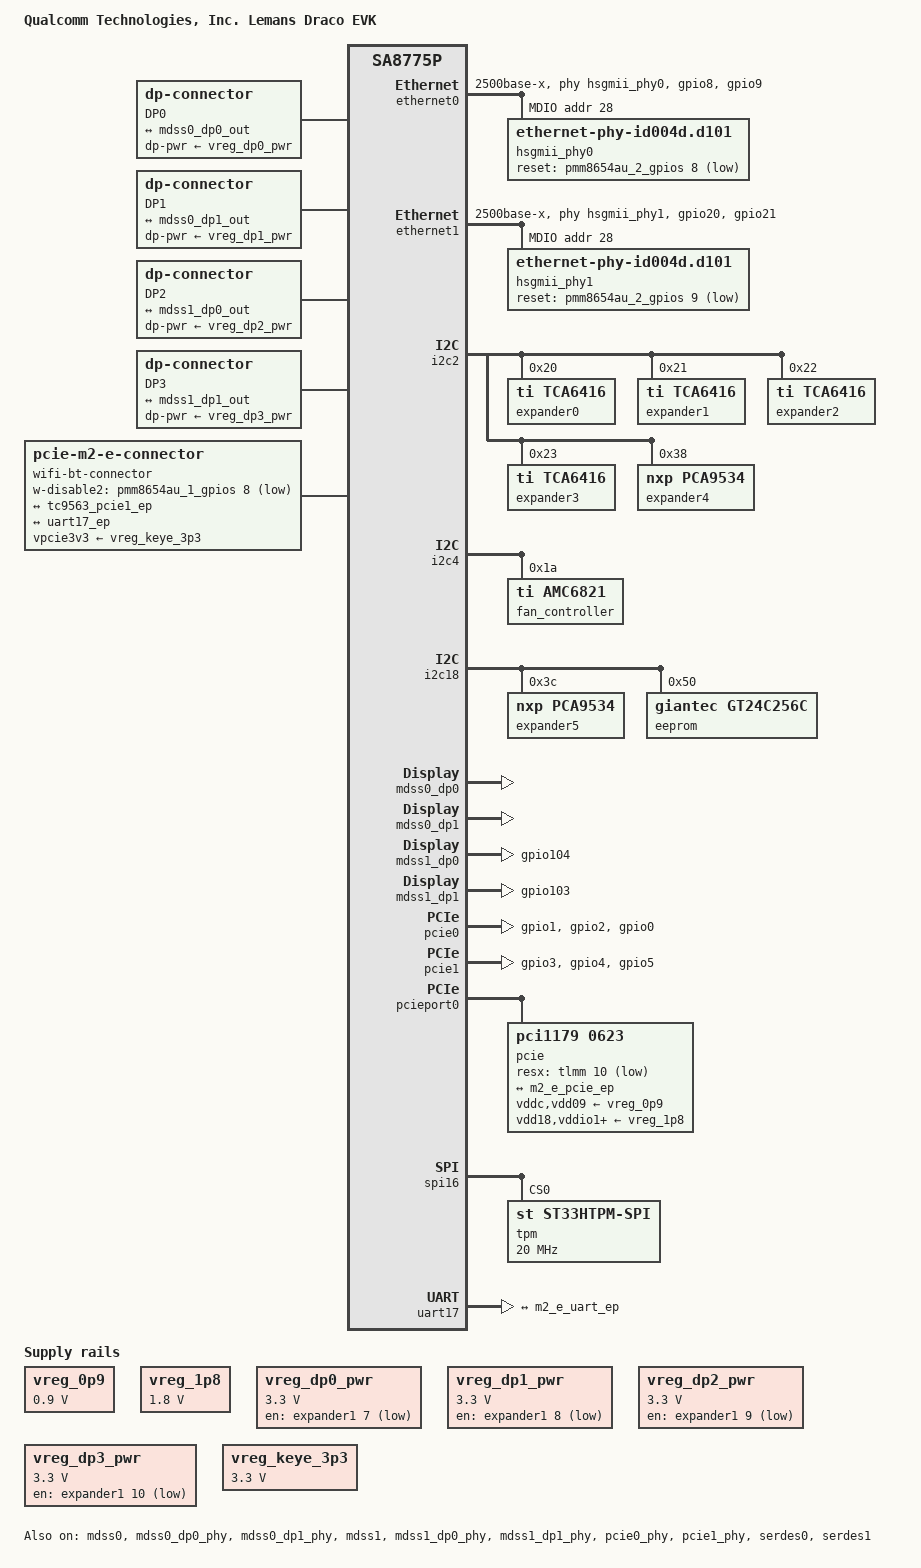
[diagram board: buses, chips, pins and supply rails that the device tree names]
// SPDX-License-Identifier: BSD-3-Clause
/*
 * Copyright (c) Qualcomm Technologies, Inc. and/or its subsidiaries.
 */
/dts-v1/;

#include <dt-bindings/pwm/pwm.h>
#include "lemans-draco-som.dtsi"

/ {
	model = "Qualcomm Technologies, Inc. Lemans Draco EVK";
	compatible = "qcom,lemans-draco-evk", "qcom,lemans-draco-som",
		     "qcom,qcs9100", "qcom,sa8775p";
	chassis-type = "embedded";

	aliases {
		ethernet0 = &ethernet0;
		ethernet1 = &ethernet1;
		serial1 = &uart17;
	};

	dp0-connector {
		compatible = "dp-connector";
		label = "DP0";
		type = "full-size";

		dp-pwr-supply = <&vreg_dp0_pwr>;

		port {
			dp0_connector_in: endpoint {
				remote-endpoint = <&mdss0_dp0_out>;
			};
		};
	};

	dp1-connector {
		compatible = "dp-connector";
		label = "DP1";
		type = "full-size";

		dp-pwr-supply = <&vreg_dp1_pwr>;

		port {
			dp1_connector_in: endpoint {
				remote-endpoint = <&mdss0_dp1_out>;
			};
		};
	};

	dp2-connector {
		compatible = "dp-connector";
		label = "DP2";
		type = "full-size";

		dp-pwr-supply = <&vreg_dp2_pwr>;

		port {
			dp2_connector_in: endpoint {
				remote-endpoint = <&mdss1_dp0_out>;
			};
		};
	};

	dp3-connector {
		compatible = "dp-connector";
		label = "DP3";
		type = "full-size";

		dp-pwr-supply = <&vreg_dp3_pwr>;

		port {
			dp3_connector_in: endpoint {
				remote-endpoint = <&mdss1_dp1_out>;
			};
		};
	};

	vreg_0p9: regulator-0v9 {
		compatible = "regulator-fixed";
		regulator-name = "VREG_0P9";
		regulator-min-microvolt = <900000>;
		regulator-max-microvolt = <900000>;
		regulator-always-on;
		regulator-boot-on;
	};

	vreg_1p8: regulator-1v8 {
		compatible = "regulator-fixed";
		regulator-name = "VREG_1P8";
		regulator-min-microvolt = <1800000>;
		regulator-max-microvolt = <1800000>;
		regulator-always-on;
		regulator-boot-on;
	};

	vreg_dp0_pwr: regulator-dp0-pwr {
		compatible = "regulator-fixed";
		regulator-name = "VREG_DP0_PWR_3P3";

		regulator-min-microvolt = <3300000>;
		regulator-max-microvolt = <3300000>;

		gpio = <&expander1 7 GPIO_ACTIVE_HIGH>;
	};

	vreg_dp1_pwr: regulator-dp1-pwr {
		compatible = "regulator-fixed";
		regulator-name = "VREG_DP1_PWR_3P3";

		regulator-min-microvolt = <3300000>;
		regulator-max-microvolt = <3300000>;

		gpio = <&expander1 8 GPIO_ACTIVE_HIGH>;
	};

	vreg_dp2_pwr: regulator-dp2-pwr {
		compatible = "regulator-fixed";
		regulator-name = "VREG_DP2_PWR_3P3";

		regulator-min-microvolt = <3300000>;
		regulator-max-microvolt = <3300000>;

		gpio = <&expander1 9 GPIO_ACTIVE_HIGH>;
	};

	vreg_dp3_pwr: regulator-dp3-pwr {
		compatible = "regulator-fixed";
		regulator-name = "VREG_DP3_PWR_3P3";

		regulator-min-microvolt = <3300000>;
		regulator-max-microvolt = <3300000>;

		gpio = <&expander1 10 GPIO_ACTIVE_HIGH>;
	};

	vreg_keye_3p3: regulator-keye-3p3 {
		compatible = "regulator-fixed";
		regulator-name = "vreg_keye_3p3";
		regulator-min-microvolt = <3300000>;
		regulator-max-microvolt = <3300000>;
		regulator-always-on;
	};

	wifi-bt-connector {
		compatible = "pcie-m2-e-connector";
		vpcie3v3-supply = <&vreg_keye_3p3>;
		w-disable2-gpios = <&pmm8654au_1_gpios 8 GPIO_ACTIVE_LOW>;

		ports {
			#address-cells = <1>;
			#size-cells = <0>;

			port@0 {
				reg = <0>;
				#address-cells = <1>;
				#size-cells = <0>;

				m2_e_pcie_ep: endpoint@0 {
					reg = <0>;
					remote-endpoint = <&tc9563_pcie1_ep>;
				};
			};

			port@3 {
				reg = <3>;
				#address-cells = <1>;
				#size-cells = <0>;

				m2_e_uart_ep: endpoint@0 {
					reg = <0>;
					remote-endpoint = <&uart17_ep>;
				};
			};
		};
	};
};

&ethernet0 {
	phy-handle = <&hsgmii_phy0>;
	phy-mode = "2500base-x";

	pinctrl-0 = <&ethernet0_default>;
	pinctrl-names = "default";

	snps,mtl-rx-config = <&mtl_rx_setup>;
	snps,mtl-tx-config = <&mtl_tx_setup>;

	nvmem-cells = <&mac_addr0>;
	nvmem-cell-names = "mac-address";

	status = "okay";

	mdio {
		compatible = "snps,dwmac-mdio";
		#address-cells = <1>;
		#size-cells = <0>;

		hsgmii_phy0: ethernet-phy@1c {
			compatible = "ethernet-phy-id004d.d101";
			reg = <0x1c>;
			reset-gpios = <&pmm8654au_2_gpios 8 GPIO_ACTIVE_LOW>;
			reset-assert-us = <11000>;
			reset-deassert-us = <70000>;
		};
	};

	mtl_rx_setup: rx-queues-config {
		snps,rx-queues-to-use = <4>;
		snps,rx-sched-sp;

		queue0 {
			snps,dcb-algorithm;
			snps,map-to-dma-channel = <0x0>;
			snps,route-up;
			snps,priority = <0x1>;
		};

		queue1 {
			snps,dcb-algorithm;
			snps,map-to-dma-channel = <0x1>;
			snps,route-ptp;
		};

		queue2 {
			snps,avb-algorithm;
			snps,map-to-dma-channel = <0x2>;
			snps,route-avcp;
		};

		queue3 {
			snps,avb-algorithm;
			snps,map-to-dma-channel = <0x3>;
			snps,priority = <0xc>;
		};
	};

	mtl_tx_setup: tx-queues-config {
		snps,tx-queues-to-use = <4>;

		queue0 {
			snps,dcb-algorithm;
		};

		queue1 {
			snps,dcb-algorithm;
		};

		queue2 {
			snps,avb-algorithm;
			snps,send_slope = <0x1000>;
			snps,idle_slope = <0x1000>;
			snps,high_credit = <0x3e800>;
			snps,low_credit = <0xffc18000>;
		};

		queue3 {
			snps,avb-algorithm;
			snps,send_slope = <0x1000>;
			snps,idle_slope = <0x1000>;
			snps,high_credit = <0x3e800>;
			snps,low_credit = <0xffc18000>;
		};
	};
};

&ethernet1 {
	phy-handle = <&hsgmii_phy1>;
	phy-mode = "2500base-x";

	pinctrl-0 = <&ethernet1_default>;
	pinctrl-names = "default";

	snps,mtl-rx-config = <&mtl_rx_setup1>;
	snps,mtl-tx-config = <&mtl_tx_setup1>;

	nvmem-cells = <&mac_addr1>;
	nvmem-cell-names = "mac-address";

	status = "okay";

	mdio {
		compatible = "snps,dwmac-mdio";
		#address-cells = <1>;
		#size-cells = <0>;

		hsgmii_phy1: ethernet-phy@1c {
			compatible = "ethernet-phy-id004d.d101";
			reg = <0x1c>;
			reset-gpios = <&pmm8654au_2_gpios 9 GPIO_ACTIVE_LOW>;
			reset-assert-us = <11000>;
			reset-deassert-us = <70000>;
		};
	};

	mtl_rx_setup1: rx-queues-config {
		snps,rx-queues-to-use = <4>;
		snps,rx-sched-sp;

		queue0 {
			snps,dcb-algorithm;
			snps,map-to-dma-channel = <0x0>;
			snps,route-up;
			snps,priority = <0x1>;
		};

		queue1 {
			snps,dcb-algorithm;
			snps,map-to-dma-channel = <0x1>;
			snps,route-ptp;
		};

		queue2 {
			snps,avb-algorithm;
			snps,map-to-dma-channel = <0x2>;
			snps,route-avcp;
		};

		queue3 {
			snps,avb-algorithm;
			snps,map-to-dma-channel = <0x3>;
			snps,priority = <0xc>;
		};
	};

	mtl_tx_setup1: tx-queues-config {
		snps,tx-queues-to-use = <4>;

		queue0 {
			snps,dcb-algorithm;
		};

		queue1 {
			snps,dcb-algorithm;
		};

		queue2 {
			snps,avb-algorithm;
			snps,send_slope = <0x1000>;
			snps,idle_slope = <0x1000>;
			snps,high_credit = <0x3e800>;
			snps,low_credit = <0xffc18000>;
		};

		queue3 {
			snps,avb-algorithm;
			snps,send_slope = <0x1000>;
			snps,idle_slope = <0x1000>;
			snps,high_credit = <0x3e800>;
			snps,low_credit = <0xffc18000>;
		};
	};
};

&i2c2 {
	status = "okay";

	expander0: gpio@20 {
		compatible = "ti,tca6416";
		reg = <0x20>;
		#gpio-cells = <2>;
		gpio-controller;
	};

	expander1: gpio@21 {
		compatible = "ti,tca6416";
		reg = <0x21>;
		#gpio-cells = <2>;
		gpio-controller;
	};

	expander2: gpio@22 {
		compatible = "ti,tca6416";
		reg = <0x22>;
		#gpio-cells = <2>;
		gpio-controller;
	};

	expander3: gpio@23 {
		compatible = "ti,tca6416";
		reg = <0x23>;
		#gpio-cells = <2>;
		gpio-controller;
	};

	expander4: gpio@38 {
		compatible = "nxp,pca9534";
		reg = <0x38>;
		#gpio-cells = <2>;
		gpio-controller;
	};
};

&i2c4 {
	status = "okay";

	fan_controller: fan@1a {
		compatible = "ti,amc6821";
		reg = <0x1a>;
		#pwm-cells = <2>;

		fan {
			pwms = <&fan_controller 40000 PWM_POLARITY_INVERTED>;
		};
	};
};

&i2c18 {
	status = "okay";

	expander5: gpio@3c {
		compatible = "nxp,pca9534";
		reg = <0x3c>;
		#gpio-cells = <2>;
		gpio-controller;
	};

	eeprom@50 {
		compatible = "giantec,gt24c256c", "atmel,24c256";
		reg = <0x50>;
		pagesize = <64>;

		nvmem-layout {
			compatible = "fixed-layout";
			#address-cells = <1>;
			#size-cells = <1>;

			mac_addr0: mac-addr@0 {
				reg = <0x0 0x6>;
			};

			mac_addr1: mac-addr@6 {
				reg = <0x6 0x6>;
			};
		};
	};
};

&mdss0 {
	status = "okay";
};

&mdss0_dp0 {
	pinctrl-0 = <&dp0_hot_plug_det>;
	pinctrl-names = "default";

	status = "okay";
};

&mdss0_dp0_out {
	data-lanes = <0 1 2 3>;
	link-frequencies = /bits/ 64 <1620000000 2700000000 5400000000 8100000000>;

	remote-endpoint = <&dp0_connector_in>;
};

&mdss0_dp0_phy {
	status = "okay";
};

&mdss0_dp1 {
	pinctrl-0 = <&dp1_hot_plug_det>;
	pinctrl-names = "default";

	status = "okay";
};

&mdss0_dp1_out {
	data-lanes = <0 1 2 3>;
	link-frequencies = /bits/ 64 <1620000000 2700000000 5400000000 8100000000>;

	remote-endpoint = <&dp1_connector_in>;
};

&mdss0_dp1_phy {
	status = "okay";
};

&mdss1 {
	status = "okay";
};

&mdss1_dp0 {
	pinctrl-0 = <&dp2_hot_plug_det>;
	pinctrl-names = "default";

	status = "okay";
};

&mdss1_dp0_out {
	data-lanes = <0 1 2 3>;
	link-frequencies = /bits/ 64 <1620000000 2700000000 5400000000 8100000000>;

	remote-endpoint = <&dp2_connector_in>;
};

&mdss1_dp0_phy {
	status = "okay";
};

&mdss1_dp1 {
	pinctrl-0 = <&dp3_hot_plug_det>;
	pinctrl-names = "default";

	status = "okay";
};

&mdss1_dp1_out {
	data-lanes = <0 1 2 3>;
	link-frequencies = /bits/ 64 <1620000000 2700000000 5400000000 8100000000>;

	remote-endpoint = <&dp3_connector_in>;
};

&mdss1_dp1_phy {
	status = "okay";
};

&pcie0 {
	perst-gpios = <&tlmm 2 GPIO_ACTIVE_LOW>;
	wake-gpios = <&tlmm 0 GPIO_ACTIVE_HIGH>;

	pinctrl-0 = <&pcie0_default_state>;
	pinctrl-names = "default";

	iommu-map = <0x0 &pcie_smmu 0x0 0x0 0x1>,
		    <0x100 &pcie_smmu 0x1 0x0 0x1>,
		    <0x208 &pcie_smmu 0x2 0x0 0x1>,
		    <0x210 &pcie_smmu 0x3 0x0 0x1>,
		    <0x218 &pcie_smmu 0x4 0x0 0x1>,
		    <0x300 &pcie_smmu 0x5 0x0 0x1>,
		    <0x400 &pcie_smmu 0x6 0x0 0x1>,
		    <0x500 &pcie_smmu 0x7 0x0 0x1>,
		    <0x501 &pcie_smmu 0x8 0x0 0x1>;

	status = "okay";
};

&pcie0_phy {
	vdda-phy-supply = <&vreg_l5a>;
	vdda-pll-supply = <&vreg_l1c>;
	vdda-qref-supply = <&vreg_l4a>;
	vdda-refgen-supply = <&vreg_l7a>;

	status = "okay";
};

&pcie1 {
	perst-gpios = <&tlmm 4 GPIO_ACTIVE_LOW>;
	wake-gpios = <&tlmm 5 GPIO_ACTIVE_HIGH>;

	pinctrl-0 = <&pcie1_default_state>;
	pinctrl-names = "default";

	status = "okay";
};

&pcie1_phy {
	vdda-phy-supply = <&vreg_l5a>;
	vdda-pll-supply = <&vreg_l1c>;
	vdda-qref-supply = <&vreg_l4a>;
	vdda-refgen-supply = <&vreg_l7a>;

	status = "okay";
};

&pcieport0 {
	#address-cells = <3>;
	#size-cells = <2>;

	pcie@0,0 {
		compatible = "pci1179,0623";
		reg = <0x10000 0x0 0x0 0x0 0x0>;
		#address-cells = <3>;
		#size-cells = <2>;
		device_type = "pci";
		ranges;
		bus-range = <0x2 0xff>;

		vddc-supply = <&vreg_0p9>;
		vdd18-supply = <&vreg_1p8>;
		vdd09-supply = <&vreg_0p9>;
		vddio1-supply = <&vreg_1p8>;
		vddio2-supply = <&vreg_1p8>;
		vddio18-supply = <&vreg_1p8>;
		i2c-parent = <&i2c18 0x77>;
		resx-gpios = <&tlmm 10 GPIO_ACTIVE_LOW>;
		pinctrl-0 = <&tc9563_resx_n>;
		pinctrl-names = "default";

		pcie@1,0 {
			reg = <0x20800 0x0 0x0 0x0 0x0>;
			#address-cells = <3>;
			#size-cells = <2>;
			device_type = "pci";
			ranges;
			bus-range = <0x3 0xff>;

			port {
				tc9563_pcie1_ep: endpoint {};
			};
		};

		pcie@2,0 {
			reg = <0x21000 0x0 0x0 0x0 0x0>;
			#address-cells = <3>;
			#size-cells = <2>;
			device_type = "pci";
			ranges;
			bus-range = <0x4 0xff>;
		};

		pcie@3,0 {
			reg = <0x21800 0x0 0x0 0x0 0x0>;
			#address-cells = <3>;
			#size-cells = <2>;
			device_type = "pci";
			ranges;
			bus-range = <0x5 0xff>;

			pcie@0,0 {
				reg = <0x50000 0x0 0x0 0x0 0x0>;
				#address-cells = <3>;
				#size-cells = <2>;
				device_type = "pci";
				ranges;
			};

			pcie@0,1 {
				reg = <0x50100 0x0 0x0 0x0 0x0>;
				#address-cells = <3>;
				#size-cells = <2>;
				device_type = "pci";
				ranges;
			};
		};
	};
};

&qup_i2c4_default {
	drive-strength = <6>;
	bias-pull-up;
};

&serdes0 {
	phy-supply = <&vreg_l5a>;

	status = "okay";
};

&serdes1 {
	phy-supply = <&vreg_l5a>;

	status = "okay";
};

&spi16 {
	status = "okay";

	tpm@0 {
		compatible = "st,st33htpm-spi", "tcg,tpm_tis-spi";
		reg = <0>;
		spi-max-frequency = <20000000>;
	};
};

&tc9563_pcie1_ep {
	remote-endpoint = <&m2_e_pcie_ep>;
};

&tlmm {

	dp2_hot_plug_det: dp2-hot-plug-det-state {
		pins = "gpio104";
		function = "edp2_hot";
		bias-disable;
	};

	dp3_hot_plug_det: dp3-hot-plug-det-state {
		pins = "gpio103";
		function = "edp3_hot";
		bias-disable;
	};

	ethernet0_default: ethernet0-default-state {
		ethernet0-mdc-pins {
			pins = "gpio8";
			function = "emac0_mdc";
			drive-strength = <16>;
			bias-pull-up;
		};

		ethernet0-mdio-pins {
			pins = "gpio9";
			function = "emac0_mdio";
			drive-strength = <16>;
			bias-pull-up;
		};
	};

	ethernet1_default: ethernet1-default-state {
		ethernet1-mdc-pins {
			pins = "gpio20";
			function = "emac1_mdc";
			drive-strength = <16>;
			bias-pull-up;
		};

		ethernet1-mdio-pins {
			pins = "gpio21";
			function = "emac1_mdio";
			drive-strength = <16>;
			bias-pull-up;
		};
	};

	pcie0_default_state: pcie0-default-state {
		clkreq-pins {
			pins = "gpio1";
			function = "pcie0_clkreq";
			drive-strength = <2>;
			bias-pull-up;
		};

		perst-pins {
			pins = "gpio2";
			function = "gpio";
			drive-strength = <2>;
			bias-pull-up;
		};

		wake-pins {
			pins = "gpio0";
			function = "gpio";
			drive-strength = <2>;
			bias-pull-up;
		};
	};

	pcie1_default_state: pcie1-default-state {
		clkreq-pins {
			pins = "gpio3";
			function = "pcie1_clkreq";
			drive-strength = <2>;
			bias-pull-up;
		};

		perst-pins {
			pins = "gpio4";
			function = "gpio";
			drive-strength = <2>;
			bias-pull-up;
		};

		wake-pins {
			pins = "gpio5";
			function = "gpio";
			drive-strength = <2>;
			bias-pull-up;
		};
	};

	tc9563_resx_n: tc9563-resx-state {
		pins = "gpio10";
		function = "gpio";
		bias-disable;
		output-high;
	};
};

&uart17 {
	status = "okay";

	port {
		uart17_ep: endpoint {
			remote-endpoint = <&m2_e_uart_ep>;
		};
	};
};
